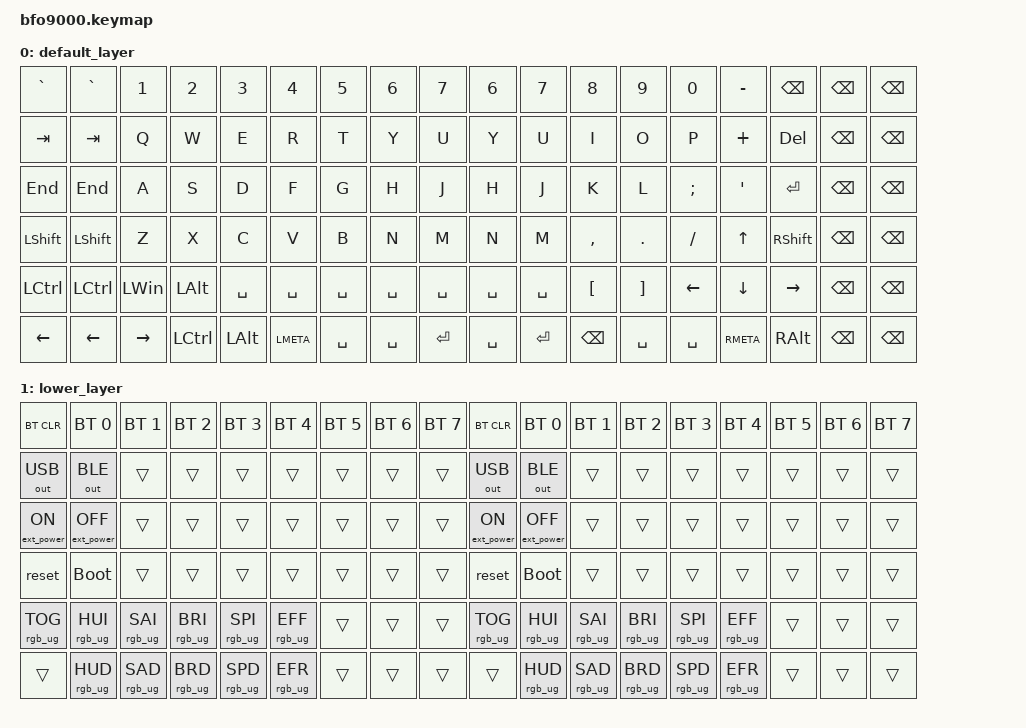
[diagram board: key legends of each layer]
/*
 * Copyright (c) 2020 The ZMK Contributors
 *
 * SPDX-License-Identifier: MIT
 */

#include <behaviors.dtsi>
#include <dt-bindings/zmk/keys.h>
#include <dt-bindings/zmk/bt.h>
#include <dt-bindings/zmk/outputs.h>
#include <dt-bindings/zmk/ext_power.h>
#include <dt-bindings/zmk/rgb.h>

#define DEFAULT 0
#define LOWER   1

/ {
	keymap {
		compatible = "zmk,keymap";

		default_layer {
			// | `    | `      | 1     | 2    | 3   | 4   | 5   | 		| 6     | 7      | 8   | 9   | 0   | -   | Bk   | 	
			// | Tab  | Tab    | Q     | W    | E   | R   | T   |		| Y     | U      | I   | O   | P   | +   | Del  | 		
			// | ^    | ^      | A     | S    | D   | F   | G   |		| H     | J      | K   | L   | ;   | "   | Enter| 		
			// | Shift| Shift  | z     | X    | C   | V   | B   |		| N     | M      | ,   | .   | /   | Up  | Shift| 		
			// | Cntl | Cntl   | Win  | Alt   | ??? | Spc | Spc |		| Spc   | Spc    | [   | ]   | Left| Down| Right| 		
			
			bindings = <
			&kp GRAVE   &kp GRAVE	 &kp N1	   &kp N2    &kp N3     &kp N4    &kp N5    	&kp N6    &kp N7	&kp N6    &kp N7    &kp N8    &kp N9      &kp N0    &kp MINUS	  &kp BSPC   	 &kp BSPC 	&kp BSPC
			&kp TAB     &kp TAB	 &kp Q     &kp W     &kp E      &kp R     &kp T   	&kp Y     &kp U 	&kp Y     &kp U     &kp I     &kp O       &kp P     &kp PLUS  	  &kp DEL  	 &kp BSPC 	&kp BSPC
			&kp END     &kp END      &kp A     &kp S     &kp D      &kp F     &kp G    	&kp H     &kp J  	&kp H     &kp J     &kp K     &kp L       &kp SEMI  &kp SQT   	  &kp ENTER   	 &kp BSPC 	&kp BSPC
			&kp LSHIFT  &kp LSHIFT   &kp Z     &kp X     &kp C      &kp V     &kp B   	&kp N     &kp M  	&kp N     &kp M     &kp COMMA &kp PERIOD  &kp SLASH &kp UP   	  &kp RSHIFT 	 &kp BSPC 	&kp BSPC 
			&kp LCTRL   &kp LCTRL    &kp LWIN  &kp LALT  &kp SPACE  &kp SPACE &kp SPACE   	&kp SPACE &kp SPACE  	&kp SPACE &kp SPACE &kp LBKT   &kp RBKT	  &kp LEFT  &kp DOWN	  &kp RIGHT	 &kp BSPC 	&kp BSPC 
			&kp LEFT    &kp LEFT     &kp RIGHT &kp LCTRL &kp LALT   &kp LMETA &kp SPACE 	&kp SPACE &kp ENTER	&kp SPACE &kp ENTER &kp BSPC   &kp SPACE   &kp SPACE &kp RMETA 	  &kp RALT	 &kp BSPC 	&kp BSPC
			>;
		};

		lower_layer {
			// | | | | | | | | | | | | | | | | | | |
			// | | | | | | | | | | | | | | | | | | |
			// | | | | | | | | | | | | | | | | | | |
			// | | | | | | | | | | | | | | | | | | |
			// | | | | | | | | | | | | | | | | | | |
			// | | | | | | | | | | | | | | | | | | |
			bindings = <
			&bt BT_CLR       &bt BT_SEL 0      &bt BT_SEL 1    &bt BT_SEL 2    &bt BT_SEL 3    &bt BT_SEL 4    &bt BT_SEL 5 &bt BT_SEL 6 &bt BT_SEL 7 &bt BT_CLR       &bt BT_SEL 0      &bt BT_SEL 1    &bt BT_SEL 2    &bt BT_SEL 3    &bt BT_SEL 4    &bt BT_SEL 5 &bt BT_SEL 6 &bt BT_SEL 7
			&out OUT_USB     &out OUT_BLE      &trans          &trans          &trans          &trans          &trans       &trans       &trans       &out OUT_USB     &out OUT_BLE      &trans          &trans          &trans          &trans          &trans       &trans       &trans
			&ext_power EP_ON &ext_power EP_OFF &trans          &trans          &trans          &trans          &trans       &trans       &trans       &ext_power EP_ON &ext_power EP_OFF &trans          &trans          &trans          &trans          &trans       &trans       &trans
			&reset           &bootloader       &trans          &trans          &trans          &trans          &trans       &trans       &trans       &reset           &bootloader       &trans          &trans          &trans          &trans          &trans       &trans       &trans
			&rgb_ug RGB_TOG  &rgb_ug RGB_HUI   &rgb_ug RGB_SAI &rgb_ug RGB_BRI &rgb_ug RGB_SPI &rgb_ug RGB_EFF &trans       &trans       &trans       &rgb_ug RGB_TOG  &rgb_ug RGB_HUI   &rgb_ug RGB_SAI &rgb_ug RGB_BRI &rgb_ug RGB_SPI &rgb_ug RGB_EFF &trans       &trans       &trans
			&trans           &rgb_ug RGB_HUD   &rgb_ug RGB_SAD &rgb_ug RGB_BRD &rgb_ug RGB_SPD &rgb_ug RGB_EFR &trans       &trans       &trans       &trans           &rgb_ug RGB_HUD   &rgb_ug RGB_SAD &rgb_ug RGB_BRD &rgb_ug RGB_SPD &rgb_ug RGB_EFR &trans       &trans       &trans
			>;
		};
	};
};
